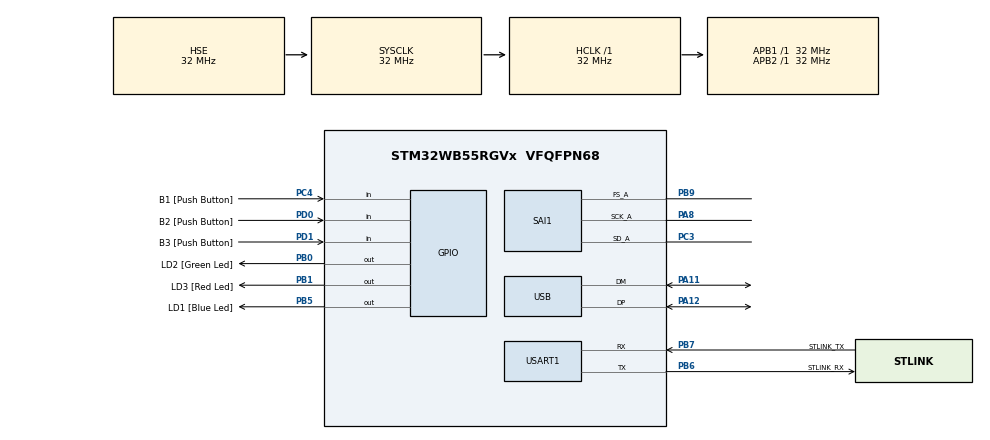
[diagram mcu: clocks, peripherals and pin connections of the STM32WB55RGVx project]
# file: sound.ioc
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Dma.Request0=SAI1_A
Dma.SAI1_A.0.Direction=DMA_MEMORY_TO_PERIPH
Dma.SAI1_A.0.EventEnable=DISABLE
Dma.SAI1_A.0.Instance=DMA1_Channel1
Dma.SAI1_A.0.MemDataAlignment=DMA_MDATAALIGN_WORD
Dma.SAI1_A.0.MemInc=DMA_MINC_ENABLE
Dma.SAI1_A.0.Mode=DMA_NORMAL
Dma.SAI1_A.0.PeriphDataAlignment=DMA_PDATAALIGN_WORD
Dma.SAI1_A.0.PeriphInc=DMA_PINC_DISABLE
Dma.SAI1_A.0.Polarity=HAL_DMAMUX_REQ_GEN_RISING
Dma.SAI1_A.0.Priority=DMA_PRIORITY_LOW
Dma.SAI1_A.0.RequestNumber=1
Dma.SAI1_A.0.SignalID=NONE
Dma.SAI1_A.0.SyncEnable=DISABLE
Dma.SAI1_A.0.SyncPolarity=HAL_DMAMUX_SYNC_NO_EVENT
Dma.SAI1_A.0.SyncRequestNumber=1
Dma.SAI1_A.0.SyncSignalID=NONE
Mcu.Family=STM32WB
Mcu.Name=STM32WB55RGVx
Mcu.Package=VFQFPN68
NVIC.DMA1_Channel1_IRQn=true\:0\:0\:false\:false\:true\:false\:true
NVIC.PriorityGroup=NVIC_PRIORITYGROUP_4
OSC_IN.Mode=HSE-External-Oscillator
OSC_IN.Signal=RCC_OSC_IN
OSC_OUT.Mode=HSE-External-Oscillator
OSC_OUT.Signal=RCC_OSC_OUT
PA11.Mode=Device
PA11.Signal=USB_DM
PA12.Mode=Device
PA12.Signal=USB_DP
PA13.GPIO_Label=JTMS
PA13.Mode=Trace_Asynchronous_SW
PA13.Signal=SYS_JTMS-SWDIO
PA14.GPIO_Label=JTCK
PA14.Mode=Trace_Asynchronous_SW
PA14.Signal=SYS_JTCK-SWCLK
PA8.Mode=SAI_A_Master
PA8.Signal=SAI1_SCK_A
PB0.GPIO_Label=LD2 [Green Led]
PB0.Signal=GPIO_Output
PB1.GPIO_Label=LD3 [Red Led]
PB1.Signal=GPIO_Output
PB3.GPIO_Label=JTDO
PB3.Mode=Trace_Asynchronous_SW
PB3.Signal=SYS_JTDO-SWO
PB5.GPIO_Label=LD1 [Blue Led]
PB5.Signal=GPIO_Output
PB6.GPIO_Label=STLINK_RX
PB6.GPIO_PuPd=GPIO_PULLUP
PB6.Mode=Asynchronous
PB6.Signal=USART1_TX
PB7.GPIO_Label=STLINK_TX
PB7.GPIO_PuPd=GPIO_PULLUP
PB7.Mode=Asynchronous
PB7.Signal=USART1_RX
PB9.Mode=SAI_A_Master
PB9.Signal=SAI1_FS_A
PC13.Mode=SYS_WakeUp1
PC13.Signal=SYS_WKUP2
PC14-OSC32_IN.Mode=LSE-External-Oscillator
PC14-OSC32_IN.Signal=RCC_OSC32_IN
PC15-OSC32_OUT.Mode=LSE-External-Oscillator
PC15-OSC32_OUT.Signal=RCC_OSC32_OUT
PC3.Mode=SAI_A_Master
PC3.Signal=SAI1_SD_A
PC4.GPIO_Label=B1 [Push Button]
PC4.Signal=GPIO_Input
PD0.GPIO_Label=B2 [Push Button]
PD0.Signal=GPIO_Input
PD1.GPIO_Label=B3 [Push Button]
PD1.Signal=GPIO_Input
ProjectManager.HeapSize=0x200
ProjectManager.StackSize=0x400
ProjectManager.TargetToolchain=STM32CubeIDE
RCC.ADCFreq_Value=48000000
RCC.AHBFreq_Value=32000000
RCC.APB1Freq_Value=32000000
RCC.APB1TimFreq_Value=32000000
RCC.APB2Freq_Value=32000000
RCC.APB2TimFreq_Value=32000000
RCC.APB3Freq_Value=16000000
RCC.CortexFreq_Value=32000000
RCC.HCLKFreq_Value=32000000
RCC.HSE_VALUE=32000000
RCC.HSI48_VALUE=48000000
RCC.HSI_VALUE=16000000
RCC.PLLN=32
RCC.PLLSAI1N=24
RCC.SMPSCLockSelectionVirtual=RCC_SMPSCLKSOURCE_HSI
RCC.SMPSCLockSelectionVirtualVirtual=RCC_SMPSCLKSOURCE_HSI
RCC.SMPSDivider=1
RCC.SYSCLKFreq_VALUE=32000000
RCC.SYSCLKSource=RCC_SYSCLKSOURCE_HSE
RCC.USBFreq_Value=48000000
RCC.VCOOutputFreq_Value=128000000
SAI1.AudioFrequency-SAI_A_Master=SAI_AUDIO_FREQUENCY_16K
SAI1.ErrorAudioFreq-SAI_A_Master=-2.34 %
SAI1.InitProtocol-SAI_A_Master=Enable
SAI1.Instance-SAI_A_Master=SAI$Index_Block_A
SAI1.MClockEnable-SAI_A_Master=SAI_MASTERCLOCK_DISABLE
SAI1.RealAudioFreq-SAI_A_Master=15.625 KHz
SAI1.VirtualMode-SAI_A_Master=VM_MASTER
SAI1.VirtualProtocol-SAI_A_BASIC=VM_BASIC_PROTOCOL
USART1.VirtualMode-Asynchronous=VM_ASYNC
USART1.WordLength=WORDLENGTH_7B
VP_SAI1_VP_$IpInstance_SAIA_SAI_BASIC.Mode=SAI_A_BASIC
board=P-NUCLEO-WB55-Nucleo

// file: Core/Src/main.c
/* USER CODE BEGIN Header */
/**
  ******************************************************************************
  * @file           : main.c
  * @brief          : Main program body
  ******************************************************************************
  * @attention
  *
  * Copyright (c) 2022 STMicroelectronics.
  * All rights reserved.
  *
  * This software is licensed under terms that can be found in the LICENSE file
  * in the root directory of this software component.
  * If no LICENSE file comes with this software, it is provided AS-IS.
  *
  ******************************************************************************
  */
/* USER CODE END Header */
#include "main.h"

/* USER CODE BEGIN PD */
#define PI 3.14159265
/* USER CODE END PD */

SAI_HandleTypeDef hsai_BlockA1;
DMA_HandleTypeDef hdma_sai1_a;

UART_HandleTypeDef huart1;

PCD_HandleTypeDef hpcd_USB_FS;

void SystemClock_Config(void);
void PeriphCommonClock_Config(void);
static void MX_GPIO_Init(void);
static void MX_USART1_UART_Init(void);
static void MX_DMA_Init(void);
static void MX_SAI1_Init(void);
static void MX_USB_PCD_Init(void);

int main(void)
{

  /* MCU Configuration--------------------------------------------------------*/

  /* Reset of all peripherals, Initializes the Flash interface and the Systick. */
  HAL_Init();

  /* Configure the system clock */
  SystemClock_Config();

/* Configure the peripherals common clocks */
  PeriphCommonClock_Config();

  /* Initialize all configured peripherals */
  MX_GPIO_Init();
  MX_USART1_UART_Init();
  MX_DMA_Init();
  MX_SAI1_Init();
  MX_USB_PCD_Init();
  /* USER CODE BEGIN 2 */
  double dur = 1.0;
   double fs = 16000.0;
   double f0 = 261.63; // Middle C
   double delta_t = 1.0 / fs;
   double volume = 12000.0;
   double c_scale[] = {261.63, 293.66, 329.63, 349.23, 392.00, 440.00, 493.88, 523.25};
  // Frequencies corresponding to C scale: C4-D4-E4-F4-G4-A4-B4-C5
   int numberOfSamples = 2.0 * dur * fs; // 2 channels * duration (sec) * samples per sec
   int16_t signal[numberOfSamples];
   // Single tone
   double t = 0;
   int count = 0;
   while (count < numberOfSamples) {
   signal[count] = volume * sin(2.0 * PI * f0 * t); // left
   signal[count + 1] = signal[count]; // right
   count += 2;
   t += delta_t;
   }
   HAL_SAI_Transmit_DMA(&hsai_BlockA1, signal, numberOfSamples);
   HAL_Delay(1000);
   // Plays a "C" scale
   for (int k = 0; k < 8; k++) {
   t = 0;
   count = 0;
   while (count < numberOfSamples) {
   signal[count] = volume * sin(2.0 * PI * c_scale[k] * t); // left
   signal[count + 1] = signal[count]; // right
   count += 2;
   t += delta_t;
   }
   HAL_SAI_Transmit_DMA(&hsai_BlockA1, signal, numberOfSamples);
   }
  /* USER CODE END 2 */

  /* Infinite loop */
  while (1)
  {

    /* USER CODE BEGIN 3 */
	   for (int k = 0; k < 8; k++) {
	   t = 0;
	   count = 0;
	   while (count < numberOfSamples) {
	   signal[count] = volume * sin(2.0 * PI * c_scale[k] * t); // left
	   signal[count + 1] = signal[count]; // right
	   count += 2;
	   t += delta_t;
	   }
	   HAL_SAI_Transmit_DMA(&hsai_BlockA1, signal, numberOfSamples);
	   }
  }
  /* USER CODE END 3 */
}

void SystemClock_Config(void)
{
  RCC_OscInitTypeDef RCC_OscInitStruct = {0};
  RCC_ClkInitTypeDef RCC_ClkInitStruct = {0};

  /** Macro to configure the PLL multiplication factor
  */
  __HAL_RCC_PLL_PLLM_CONFIG(RCC_PLLM_DIV1);
  /** Macro to configure the PLL clock source
  */
  __HAL_RCC_PLL_PLLSOURCE_CONFIG(RCC_PLLSOURCE_MSI);
  /** Configure LSE Drive Capability
  */
  HAL_PWR_EnableBkUpAccess();
  __HAL_RCC_LSEDRIVE_CONFIG(RCC_LSEDRIVE_LOW);
  /** Configure the main internal regulator output voltage
  */
  __HAL_PWR_VOLTAGESCALING_CONFIG(PWR_REGULATOR_VOLTAGE_SCALE1);
  /** Initializes the RCC Oscillators according to the specified parameters
  * in the RCC_OscInitTypeDef structure.
  */
  RCC_OscInitStruct.OscillatorType = RCC_OSCILLATORTYPE_HSI|RCC_OSCILLATORTYPE_HSE
                              |RCC_OSCILLATORTYPE_LSE|RCC_OSCILLATORTYPE_MSI;
  RCC_OscInitStruct.HSEState = RCC_HSE_ON;
  RCC_OscInitStruct.LSEState = RCC_LSE_ON;
  RCC_OscInitStruct.HSIState = RCC_HSI_ON;
  RCC_OscInitStruct.MSIState = RCC_MSI_ON;
  RCC_OscInitStruct.HSICalibrationValue = RCC_HSICALIBRATION_DEFAULT;
  RCC_OscInitStruct.MSICalibrationValue = RCC_MSICALIBRATION_DEFAULT;
  RCC_OscInitStruct.MSIClockRange = RCC_MSIRANGE_6;
  RCC_OscInitStruct.PLL.PLLState = RCC_PLL_NONE;
  if (HAL_RCC_OscConfig(&RCC_OscInitStruct) != HAL_OK)
  {
    Error_Handler();
  }
  /** Configure the SYSCLKSource, HCLK, PCLK1 and PCLK2 clocks dividers
  */
  RCC_ClkInitStruct.ClockType = RCC_CLOCKTYPE_HCLK4|RCC_CLOCKTYPE_HCLK2
                              |RCC_CLOCKTYPE_HCLK|RCC_CLOCKTYPE_SYSCLK
                              |RCC_CLOCKTYPE_PCLK1|RCC_CLOCKTYPE_PCLK2;
  RCC_ClkInitStruct.SYSCLKSource = RCC_SYSCLKSOURCE_HSE;
  RCC_ClkInitStruct.AHBCLKDivider = RCC_SYSCLK_DIV1;
  RCC_ClkInitStruct.APB1CLKDivider = RCC_HCLK_DIV1;
  RCC_ClkInitStruct.APB2CLKDivider = RCC_HCLK_DIV1;
  RCC_ClkInitStruct.AHBCLK2Divider = RCC_SYSCLK_DIV1;
  RCC_ClkInitStruct.AHBCLK4Divider = RCC_SYSCLK_DIV1;

  if (HAL_RCC_ClockConfig(&RCC_ClkInitStruct, FLASH_LATENCY_1) != HAL_OK)
  {
    Error_Handler();
  }
  /** Enable MSI Auto calibration
  */
  HAL_RCCEx_EnableMSIPLLMode();
}

void PeriphCommonClock_Config(void)
{
  RCC_PeriphCLKInitTypeDef PeriphClkInitStruct = {0};

  /** Initializes the peripherals clock
  */
  PeriphClkInitStruct.PeriphClockSelection = RCC_PERIPHCLK_SMPS|RCC_PERIPHCLK_SAI1
                              |RCC_PERIPHCLK_USB;
  PeriphClkInitStruct.PLLSAI1.PLLN = 24;
  PeriphClkInitStruct.PLLSAI1.PLLP = RCC_PLLP_DIV2;
  PeriphClkInitStruct.PLLSAI1.PLLQ = RCC_PLLQ_DIV2;
  PeriphClkInitStruct.PLLSAI1.PLLR = RCC_PLLR_DIV2;
  PeriphClkInitStruct.PLLSAI1.PLLSAI1ClockOut = RCC_PLLSAI1_SAI1CLK|RCC_PLLSAI1_USBCLK;
  PeriphClkInitStruct.Sai1ClockSelection = RCC_SAI1CLKSOURCE_PLLSAI1;
  PeriphClkInitStruct.UsbClockSelection = RCC_USBCLKSOURCE_PLLSAI1;
  PeriphClkInitStruct.SmpsClockSelection = RCC_SMPSCLKSOURCE_HSI;
  PeriphClkInitStruct.SmpsDivSelection = RCC_SMPSCLKDIV_RANGE0;

  if (HAL_RCCEx_PeriphCLKConfig(&PeriphClkInitStruct) != HAL_OK)
  {
    Error_Handler();
  }
}

static void MX_SAI1_Init(void)
{

  hsai_BlockA1.Instance = SAI1_Block_A;
  hsai_BlockA1.Init.AudioMode = SAI_MODEMASTER_TX;
  hsai_BlockA1.Init.Synchro = SAI_ASYNCHRONOUS;
  hsai_BlockA1.Init.OutputDrive = SAI_OUTPUTDRIVE_DISABLE;
  hsai_BlockA1.Init.NoDivider = SAI_MASTERDIVIDER_ENABLE;
  hsai_BlockA1.Init.MckOverSampling = SAI_MCK_OVERSAMPLING_DISABLE;
  hsai_BlockA1.Init.FIFOThreshold = SAI_FIFOTHRESHOLD_EMPTY;
  hsai_BlockA1.Init.AudioFrequency = SAI_AUDIO_FREQUENCY_16K;
  hsai_BlockA1.Init.SynchroExt = SAI_SYNCEXT_DISABLE;
  hsai_BlockA1.Init.MonoStereoMode = SAI_STEREOMODE;
  hsai_BlockA1.Init.CompandingMode = SAI_NOCOMPANDING;
  hsai_BlockA1.Init.TriState = SAI_OUTPUT_NOTRELEASED;
  if (HAL_SAI_InitProtocol(&hsai_BlockA1, SAI_I2S_STANDARD, SAI_PROTOCOL_DATASIZE_16BIT, 2) != HAL_OK)
  {
    Error_Handler();
  }

}

static void MX_USART1_UART_Init(void)
{

  huart1.Instance = USART1;
  huart1.Init.BaudRate = 115200;
  huart1.Init.WordLength = UART_WORDLENGTH_7B;
  huart1.Init.StopBits = UART_STOPBITS_1;
  huart1.Init.Parity = UART_PARITY_NONE;
  huart1.Init.Mode = UART_MODE_TX_RX;
  huart1.Init.HwFlowCtl = UART_HWCONTROL_NONE;
  huart1.Init.OverSampling = UART_OVERSAMPLING_16;
  huart1.Init.OneBitSampling = UART_ONE_BIT_SAMPLE_DISABLE;
  huart1.Init.ClockPrescaler = UART_PRESCALER_DIV1;
  huart1.AdvancedInit.AdvFeatureInit = UART_ADVFEATURE_NO_INIT;
  if (HAL_UART_Init(&huart1) != HAL_OK)
  {
    Error_Handler();
  }
  if (HAL_UARTEx_SetTxFifoThreshold(&huart1, UART_TXFIFO_THRESHOLD_1_8) != HAL_OK)
  {
    Error_Handler();
  }
  if (HAL_UARTEx_SetRxFifoThreshold(&huart1, UART_RXFIFO_THRESHOLD_1_8) != HAL_OK)
  {
    Error_Handler();
  }
  if (HAL_UARTEx_DisableFifoMode(&huart1) != HAL_OK)
  {
    Error_Handler();
  }

}

static void MX_USB_PCD_Init(void)
{

  hpcd_USB_FS.Instance = USB;
  hpcd_USB_FS.Init.dev_endpoints = 8;
  hpcd_USB_FS.Init.speed = PCD_SPEED_FULL;
  hpcd_USB_FS.Init.phy_itface = PCD_PHY_EMBEDDED;
  hpcd_USB_FS.Init.Sof_enable = DISABLE;
  hpcd_USB_FS.Init.low_power_enable = DISABLE;
  hpcd_USB_FS.Init.lpm_enable = DISABLE;
  hpcd_USB_FS.Init.battery_charging_enable = DISABLE;
  if (HAL_PCD_Init(&hpcd_USB_FS) != HAL_OK)
  {
    Error_Handler();
  }

}

static void MX_DMA_Init(void)
{

  /* DMA controller clock enable */
  __HAL_RCC_DMAMUX1_CLK_ENABLE();
  __HAL_RCC_DMA1_CLK_ENABLE();

  /* DMA interrupt init */
  /* DMA1_Channel1_IRQn interrupt configuration */
  HAL_NVIC_SetPriority(DMA1_Channel1_IRQn, 0, 0);
  HAL_NVIC_EnableIRQ(DMA1_Channel1_IRQn);

}

static void MX_GPIO_Init(void)
{
  GPIO_InitTypeDef GPIO_InitStruct = {0};

  /* GPIO Ports Clock Enable */
  __HAL_RCC_GPIOC_CLK_ENABLE();
  __HAL_RCC_GPIOB_CLK_ENABLE();
  __HAL_RCC_GPIOA_CLK_ENABLE();
  __HAL_RCC_GPIOD_CLK_ENABLE();

  /*Configure GPIO pin Output Level */
  HAL_GPIO_WritePin(GPIOB, LD2_Pin|LD3_Pin|LD1_Pin, GPIO_PIN_RESET);

  /*Configure GPIO pin : B1_Pin */
  GPIO_InitStruct.Pin = B1_Pin;
  GPIO_InitStruct.Mode = GPIO_MODE_INPUT;
  GPIO_InitStruct.Pull = GPIO_NOPULL;
  HAL_GPIO_Init(B1_GPIO_Port, &GPIO_InitStruct);

  /*Configure GPIO pins : LD2_Pin LD3_Pin LD1_Pin */
  GPIO_InitStruct.Pin = LD2_Pin|LD3_Pin|LD1_Pin;
  GPIO_InitStruct.Mode = GPIO_MODE_OUTPUT_PP;
  GPIO_InitStruct.Pull = GPIO_NOPULL;
  GPIO_InitStruct.Speed = GPIO_SPEED_FREQ_LOW;
  HAL_GPIO_Init(GPIOB, &GPIO_InitStruct);

  /*Configure GPIO pins : B2_Pin B3_Pin */
  GPIO_InitStruct.Pin = B2_Pin|B3_Pin;
  GPIO_InitStruct.Mode = GPIO_MODE_INPUT;
  GPIO_InitStruct.Pull = GPIO_NOPULL;
  HAL_GPIO_Init(GPIOD, &GPIO_InitStruct);

}

void Error_Handler(void)
{
  __disable_irq();
  while (1)
  {
  }
}
